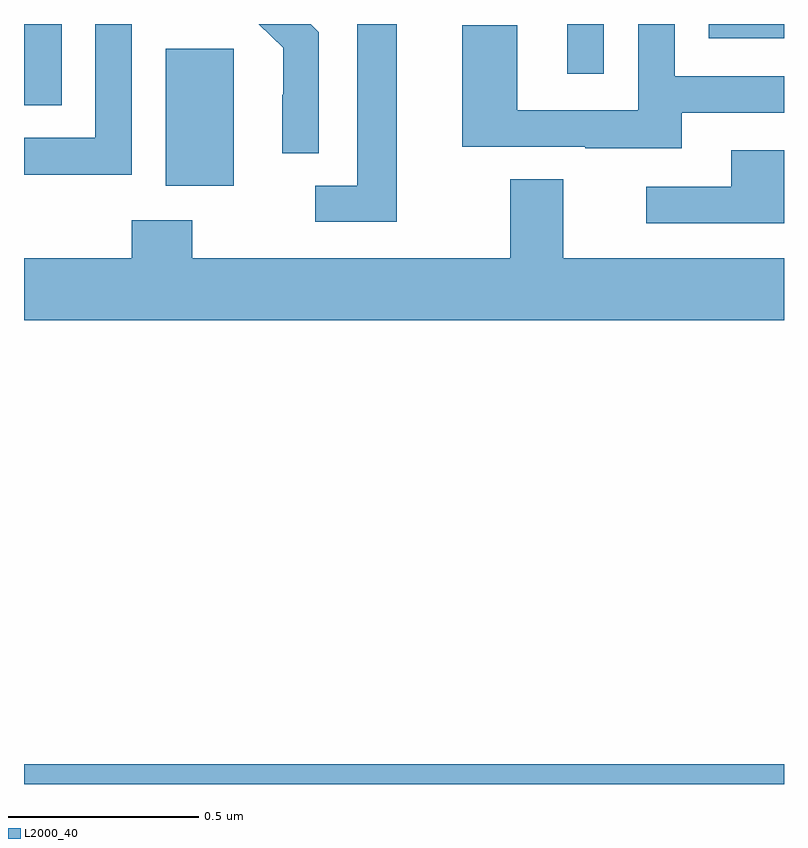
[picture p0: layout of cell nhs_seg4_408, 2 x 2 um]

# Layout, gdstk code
import gdstk
lib = gdstk.Library(unit=1e-6, precision=1e-09)
def R(c, l, rs):  # rectangles x0, y0, x1, y1
    for r in rs: c.add(gdstk.rectangle(r[:2], r[2:], *l))
def P(c, l, *ps):  # polygons
    for p in ps: c.add(gdstk.Polygon(p, *l))
L2000_40 = (2000, 40)

nhs_seg4_408 = lib.new_cell('nhs_seg4_408')
R(nhs_seg4_408, L2000_40, [(115,828.9,117,828.952), (115.373,830.474,115.552,830.835), (115,830.686,115.099,830.9), (116.429,830.769,116.526,830.9), (116.802,830.862,117,830.9)])
P(nhs_seg4_408, L2000_40, [(115.284,830.9),(115.188,830.9),(115.188,830.601),(115,830.601),(115,830.503),(115.284,830.503)],
  [(115.776,830.878),(115.754,830.9),(115.618,830.9),(115.682,830.837),(115.682,830.714),(115.68,830.714),(115.68,830.56),(115.776,830.56)],
  [(115.981,830.9),(115.877,830.9),(115.877,830.475),(115.767,830.475),(115.767,830.379),(115.981,830.379)],
  [(116.731,830.667),(117,830.667),(117,830.763),(116.712,830.763),(116.712,830.9),(116.616,830.9),(116.616,830.673),(116.298,830.673),(116.298,830.897),(116.153,830.897),(116.153,830.577),(116.477,830.577),(116.477,830.573),(116.731,830.573)],
  [(117,830.568),(116.861,830.568),(116.861,830.472),(116.637,830.472),(116.637,830.376),(117,830.376)],
  [(117,830.284),(116.419,830.284),(116.419,830.492),(116.279,830.492),(116.279,830.284),(115.443,830.284),(115.443,830.383),(115.283,830.383),(115.283,830.284),(115,830.284),(115,830.12),(117,830.12)])

lib.write_gds('nhs_seg4_408.gds')
